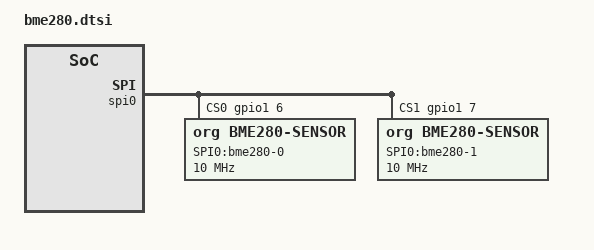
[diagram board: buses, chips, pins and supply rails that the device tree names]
&spi0{
    
	status = "okay";
	pinctrl-names = "default";
	pinctrl-0 = <&pinctrl_spi0>;
	cs-gpios = <&gpio1 6 0>, <&gpio1 7 0>;

	bme280_0: bme280@0{

		compatible = "org,bme280-sensor";
		reg = <0>;
		spi-max-frequency = <10000000>;
		label = "SPI0:bme280-0";
		spi-cpol = <0>;
		spi-cpha = <0>;

	};

	bme280_1: bme280@1{

		compatible = "org,bme280-sensor";
		reg = <1>;
		spi-max-frequency = <10000000>;
		label = "SPI0:bme280-1";
		spi-cpol = <0>;
		spi-cpha = <0>;

	};
};

&am33xx_pinmux {
	
	pinctrl_spi0: spi0_pins {
		pinctrl-single,pins = < 
			AM33XX_PADCONF(AM335X_PIN_SPI0_SCLK,PIN_OUTPUT_PULLUP,MUX_MODE0) 
			AM33XX_PADCONF(AM335X_PIN_SPI0_D0,PIN_INPUT_PULLUP,MUX_MODE0   ) 
			AM33XX_PADCONF(AM335X_PIN_SPI0_D1,PIN_OUTPUT_PULLUP,MUX_MODE0  ) 
			AM33XX_PADCONF(AM335X_PIN_SPI0_CS0,PIN_OUTPUT_PULLUP,MUX_MODE0 ) 
			/*AM33XX_PADCONF(AM335X_PIN_SPI0_CS1,PIN_OUTPUT_PULLUP,MUX_MODE0 )*/
		>;

	};

};
